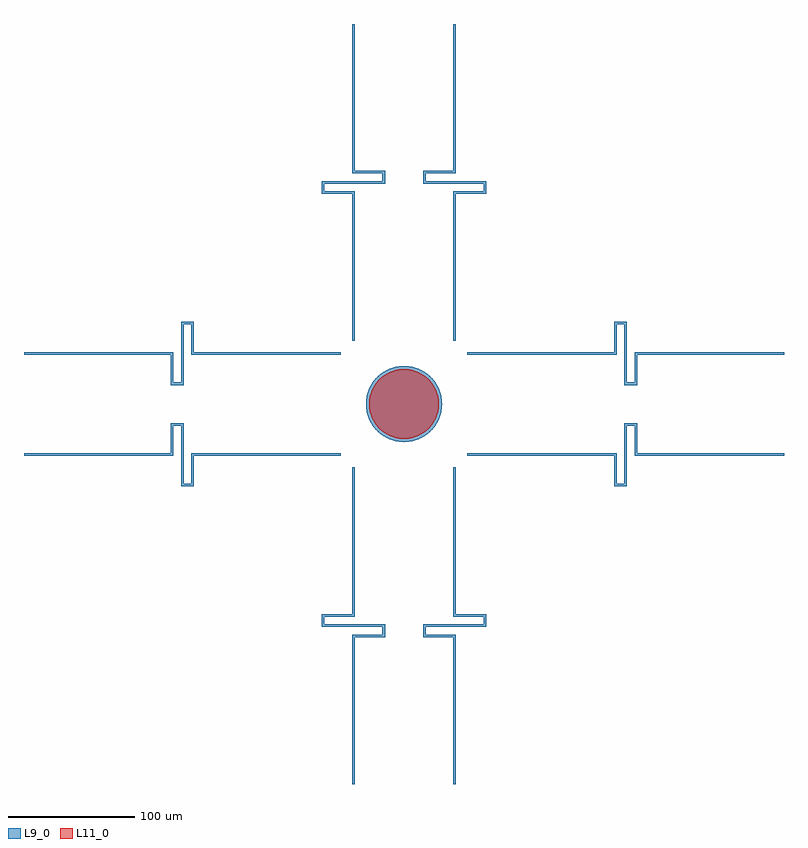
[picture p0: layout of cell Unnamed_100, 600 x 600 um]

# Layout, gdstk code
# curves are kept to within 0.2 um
from math import pi, radians
import gdstk
lib = gdstk.Library(unit=1e-6, precision=1e-09)
def R(c, l, rs):  # rectangles x0, y0, x1, y1
    for r in rs: c.add(gdstk.rectangle(r[:2], r[2:], *l))
def P(c, l, *ps):  # polygons
    for p in ps: c.add(gdstk.Polygon(p, *l))
L9_0 = (9, 0)
L11_0 = (11, 0)

rectangle_s50_2_l9_0_cf_ = lib.new_cell('rectangle_S50_2_L9_0_CF_7b202ac9')
R(rectangle_s50_2_l9_0_cf_, L9_0, [(0,0,50,2)])

rectangle_s2_6_l9_0_cfa_ = lib.new_cell('rectangle_S2_6_L9_0_CFa_6e69fcce')
R(rectangle_s2_6_l9_0_cfa_, L9_0, [(0,0,2,6)])

rectangle_s26_2_l9_0_cf_ = lib.new_cell('rectangle_S26_2_L9_0_CF_7241b5a4')
R(rectangle_s26_2_l9_0_cf_, L9_0, [(0,0,26,2)])

rectangle_s2_116_l9_0_c_ = lib.new_cell('rectangle_S2_116_L9_0_C_2d5fca50')
R(rectangle_s2_116_l9_0_c_, L9_0, [(0,0,2,116)])

unnamed_101 = lib.new_cell('Unnamed_101')
unnamed_101.add(gdstk.Reference(rectangle_s50_2_l9_0_cf_, (-24,124)))
unnamed_101.add(gdstk.Reference(rectangle_s2_6_l9_0_cfa_, (24,118)))
unnamed_101.add(gdstk.Reference(rectangle_s2_6_l9_0_cfa_, (-24,126)))
unnamed_101.add(gdstk.Reference(rectangle_s26_2_l9_0_cf_, (0,116)))
unnamed_101.add(gdstk.Reference(rectangle_s26_2_l9_0_cf_, (-24,132)))
unnamed_101.add(gdstk.Reference(rectangle_s2_116_l9_0_c_, (0,0)))
unnamed_101.add(gdstk.Reference(rectangle_s2_116_l9_0_c_, (0,134)))

unnamed_102 = lib.new_cell('Unnamed_102')
unnamed_102.add(gdstk.Reference(unnamed_101, (41,-300), rotation=pi, x_reflection=True))
unnamed_102.add(gdstk.Reference(unnamed_101, (-41,-300)))

circle_r27p5_ar2p5_l11_0 = lib.new_cell('circle_R27p5_AR2p5_L11_0')
P(circle_r27p5_ar2p5_l11_0, L11_0, [(0,-27.5),(-5.952,-26.848),(-10.524,-25.407),(-15.773,-22.527),(-19.445,-19.445),(-22.527,-15.773),(-25.407,-10.524),(-26.848,-5.952),(-27.5,0),(-26.848,5.952),(-25.407,10.524),(-22.527,15.773),(-19.445,19.445),(-15.773,22.527),(-10.524,25.407),(-5.952,26.848),(0,27.5),(5.952,26.848),(10.524,25.407),(15.773,22.527),(19.445,19.445),(22.527,15.773),(25.407,10.524),(26.848,5.952),(27.5,0),(26.848,-5.952),(25.407,-10.524),(22.527,-15.773),(19.445,-19.445),(15.773,-22.527),(10.524,-25.407),(5.952,-26.848)])

circle_r30_ar2p5_l9_0 = lib.new_cell('circle_R30_AR2p5_L9_0')
P(circle_r30_ar2p5_l9_0, L9_0, [(0,-30),(-6.493,-29.289),(-11.481,-27.716),(-17.207,-24.575),(-21.213,-21.213),(-24.575,-17.207),(-27.716,-11.481),(-29.289,-6.493),(-30,0),(-29.289,6.493),(-27.716,11.481),(-24.575,17.207),(-21.213,21.213),(-17.207,24.575),(-11.481,27.716),(-6.493,29.289),(0,30),(6.493,29.289),(11.481,27.716),(17.207,24.575),(21.213,21.213),(24.575,17.207),(27.716,11.481),(29.289,6.493),(30,0),(29.289,-6.493),(27.716,-11.481),(24.575,-17.207),(21.213,-21.213),(17.207,-24.575),(11.481,-27.716),(6.493,-29.289)])

unnamed_100 = lib.new_cell('Unnamed_100')
unnamed_100.add(gdstk.Reference(unnamed_102, (0,0), x_reflection=True))
unnamed_100.add(gdstk.Reference(circle_r27p5_ar2p5_l11_0, (0,0)))
unnamed_100.add(gdstk.Reference(circle_r30_ar2p5_l9_0, (0,0)))
unnamed_100.add(gdstk.Reference(unnamed_102, (0,0), rotation=pi/2))
unnamed_100.add(gdstk.Reference(unnamed_102, (0,0), rotation=3*pi/2))
unnamed_100.add(gdstk.Reference(unnamed_102, (0,0)))

lib.write_gds('Unnamed_100.gds')
